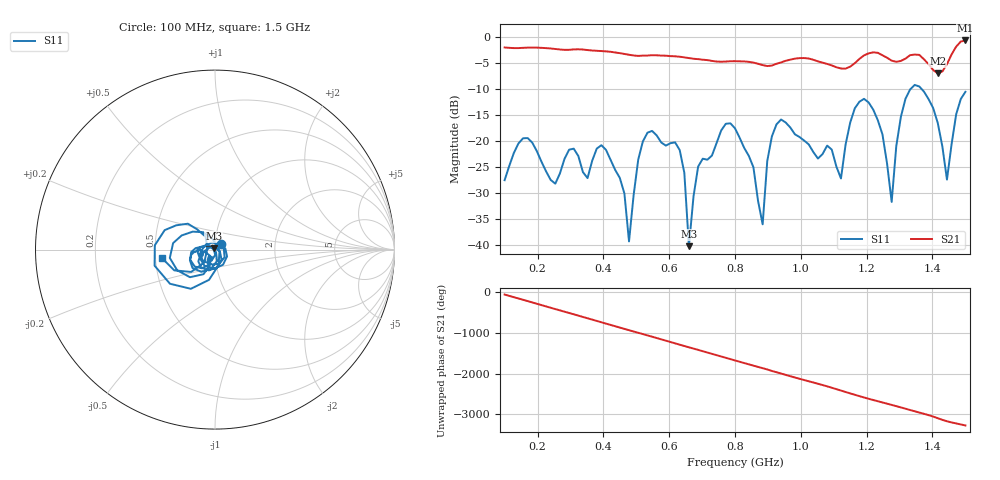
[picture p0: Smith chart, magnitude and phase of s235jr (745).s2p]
! NanoVNA-App
! Date: 2025-09-25 15:09:58
! Start: 100MHz Stop: 1,5GHz Points: 101
! S-Parameter data: F S11 S21 S12 S22
# Hz S RI R 50
!  Frequency  S11_Real  S11_Imag  S21_Real  S21_Imag  S12_Real  S12_Imag  S22_Real  S22_Imag
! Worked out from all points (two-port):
!   101 points, 100 MHz to 1.5 GHz, reference 50 ohm
!   highest |S21| = -0.62 dB at 1.5 GHz (marker M1); lowest = -7.0 dB at 1.416 GHz (marker M2)
!   |S21| within 3 dB of the highest: start of sweep to 602.5 MHz; 1.189 GHz to 1.252 GHz (63.23 MHz wide, 5.18 % of centre) (the widest 2 of 4)
!   lowest |S11| = -40.2 dB at 660 MHz (marker M3), VSWR 1.02, Z = 49.3 + j0.632 ohm
!   |S11| at or under -10 dB: start of sweep to 1.333 GHz; 1.368 GHz to end of sweep
!   S12 and S22 are empty: the file has one direction only
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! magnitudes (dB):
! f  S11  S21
! 100 MHz  -27.5  -2.0
! 156 MHz  -19.4  -2.0
! 338 MHz  -25.9  -2.4
! 408 MHz  -21.6  -2.7
! 478 MHz  -39.2  -3.4
! 520 MHz  -20.0  -3.5
! 576 MHz  -20.2  -3.5
! 632 MHz  -21.7  -3.7
! 660 MHz  -40.2  -4.0
! 688 MHz  -24.9  -4.2
! 800 MHz  -17.5  -4.6
! 884 MHz  -36.0  -5.4
! 926 MHz  -16.8  -5.1
! 1.038 GHz  -22.1  -4.3
! 1.122 GHz  -27.1  -6.0
! 1.192 GHz  -11.8  -3.5
! 1.248 GHz  -18.7  -3.5
! 1.276 GHz  -31.6  -4.5
! 1.332 GHz  -10.0  -3.4
! 1.416 GHz  -16.5  -7.0
! 1.444 GHz  -27.4  -5.2
! 1.5 GHz  -10.5  -0.6
